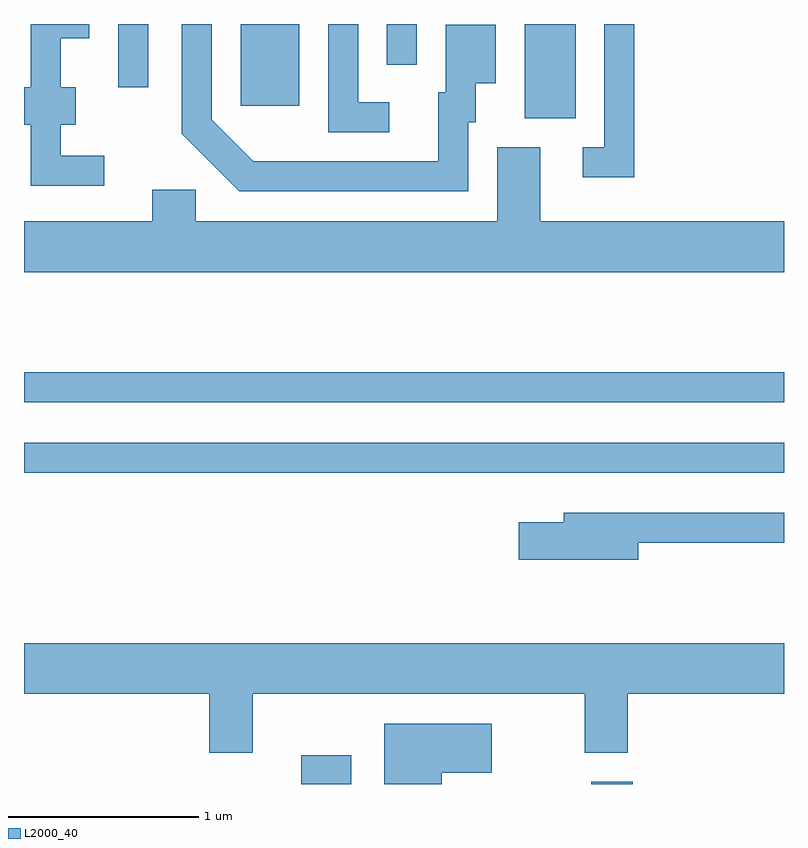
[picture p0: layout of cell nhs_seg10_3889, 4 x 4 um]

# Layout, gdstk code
import gdstk
lib = gdstk.Library(unit=1e-6, precision=1e-09)
def R(c, l, rs):  # rectangles x0, y0, x1, y1
    for r in rs: c.add(gdstk.rectangle(r[:2], r[2:], *l))
def P(c, l, *ps):  # polygons
    for p in ps: c.add(gdstk.Polygon(p, *l))
L2000_40 = (2000, 40)

nhs_seg10_3889 = lib.new_cell('nhs_seg10_3889')
R(nhs_seg10_3889, L2000_40, [(301.071,2144.522,301.334,2144.674), (302.596,2144.522,302.814,2144.534), (299.611,2146.161,303.611,2146.319), (299.611,2146.531,303.611,2146.689), (302.246,2148.026,302.514,2148.522), (300.751,2148.091,301.059,2148.522), (300.106,2148.188,300.264,2148.522), (301.521,2148.308,301.679,2148.522)])
P(nhs_seg10_3889, L2000_40, [(301.949,2148.006),(301.989,2148.006),(301.989,2148.211),(302.094,2148.211),(302.094,2148.519),(301.831,2148.519),(301.831,2148.164),(301.791,2148.164),(301.791,2147.799),(300.817,2147.799),(300.599,2148.017),(300.599,2148.522),(300.441,2148.522),(300.441,2147.944),(300.744,2147.641),(301.949,2147.641)],
  [(300.033,2147.829),(299.804,2147.829),(299.804,2147.991),(299.884,2147.991),(299.884,2148.189),(299.804,2148.189),(299.804,2148.446),(299.954,2148.446),(299.954,2148.522),(299.646,2148.522),(299.646,2148.189),(299.611,2148.189),(299.611,2147.991),(299.646,2147.991),(299.646,2147.671),(300.033,2147.671)],
  [(301.533,2148.109),(301.369,2148.109),(301.369,2148.522),(301.211,2148.522),(301.211,2147.951),(301.533,2147.951)],
  [(302.824,2148.522),(302.666,2148.522),(302.666,2147.874),(302.553,2147.874),(302.553,2147.716),(302.824,2147.716)],
  [(303.611,2147.484),(302.329,2147.484),(302.329,2147.874),(302.101,2147.874),(302.101,2147.484),(300.514,2147.484),(300.514,2147.649),(300.286,2147.649),(300.286,2147.484),(299.611,2147.484),(299.611,2147.216),(303.611,2147.216)],
  [(302.844,2145.791),(303.611,2145.791),(303.611,2145.949),(302.451,2145.949),(302.451,2145.899),(302.216,2145.899),(302.216,2145.701),(302.844,2145.701)],
  [(300.814,2144.996),(302.561,2144.996),(302.561,2144.686),(302.789,2144.686),(302.789,2144.996),(303.611,2144.996),(303.611,2145.264),(299.611,2145.264),(299.611,2144.996),(300.586,2144.996),(300.586,2144.686),(300.814,2144.686)],
  [(301.809,2144.581),(302.074,2144.581),(302.074,2144.839),(301.506,2144.839),(301.506,2144.522),(301.809,2144.522)])

lib.write_gds('nhs_seg10_3889.gds')
